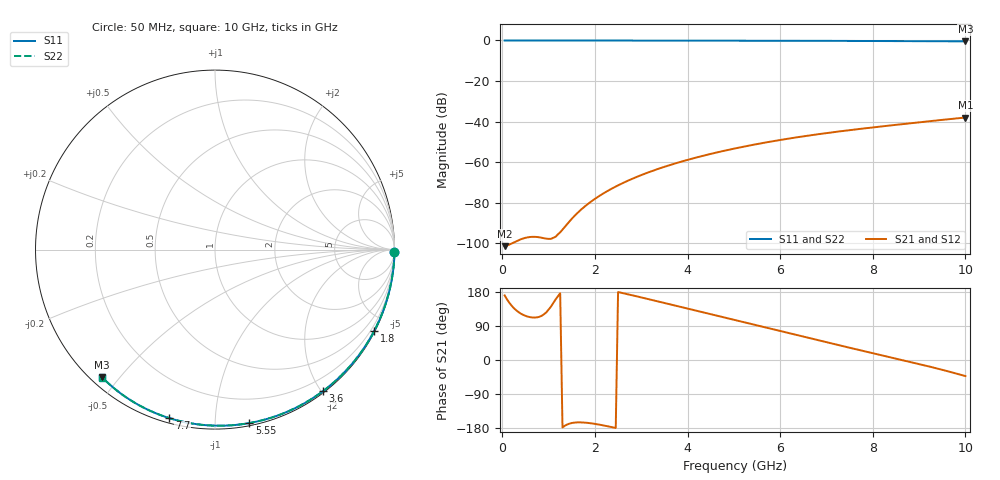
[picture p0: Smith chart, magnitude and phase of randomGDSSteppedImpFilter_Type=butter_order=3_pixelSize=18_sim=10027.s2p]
! freq	dB(S11)	phase(S11)	dB(S12)	phase(S12)
!  dB(S21)	phase(S21)	dB(S22)	phase(S22)
!S-par simulation data
#  GHz  S  DB  R 50
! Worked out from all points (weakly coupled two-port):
!   200 points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, 50 MHz to 10 GHz, reference 50 ohm
!   highest |S21| = -37.97 dB at 10 GHz (marker M1); lowest = -101.4 dB at 50 MHz (marker M2)
!   lowest |S11| = -0.5 dB at 10 GHz (marker M3), VSWR 38.34, Z = 1.57 - j22.5 ohm
!   |S11| at or under -10 dB: nowhere
!   |S22| runs from -0.4 to 0.0 dB; largest |S21 - S12| = 0
!   S11 on the Smith chart (normalised r, x): 50 MHz: open; 1.8 GHz: 0.04, -4.17; 3.6 GHz: 0.02, -2.02; 5.55 GHz: 0.02, -1.22; 7.7 GHz: 0.02, -0.76; 10 GHz: 0.03, -0.45
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0.05  -0.00 -0.8  -101.36 170.5  -101.36 170.5  -0.00 -0.8
0.9  -0.01 -13.6  -97.45 120.7  -97.45 120.7  -0.02 -13.6
1.75  -0.03 -26.2  -82.39 -164.9  -82.39 -164.9  -0.03 -26.2
1.8  -0.03 -27.0  -81.44 -165.4  -81.44 -165.4  -0.03 -26.9
1.85  -0.04 -27.7  -80.54 -166.0  -80.54 -166.0  -0.04 -27.6
1.9  -0.04 -28.4  -79.68 -166.8  -79.68 -166.8  -0.04 -28.4
2.05  -0.04 -30.6  -77.28 -169.6  -77.28 -169.6  -0.04 -30.6
2.25  -0.04 -33.5  -74.46 -174.2  -74.46 -174.2  -0.04 -33.5
2.45  -0.05 -36.4  -71.97 -179.3  -71.97 -179.3  -0.05 -36.4
2.65  -0.05 -39.3  -69.75 175.2  -69.75 175.2  -0.05 -39.2
3  -0.06 -44.3  -66.35 165.2  -66.35 165.2  -0.06 -44.2
3.4  -0.07 -49.9  -63.02 153.5  -63.02 153.5  -0.07 -49.8
3.6  -0.07 -52.7  -61.53 147.5  -61.53 147.5  -0.07 -52.6
4.3  -0.09 -62.3  -57.03 126.8  -57.03 126.8  -0.09 -62.2
5.05  -0.11 -72.3  -53.09 104.4  -53.09 104.4  -0.11 -72.1
5.55  -0.13 -78.8  -50.84 89.5  -50.84 89.5  -0.13 -78.6
6.1  -0.15 -85.7  -48.66 73.2  -48.66 73.2  -0.15 -85.6
6.7  -0.18 -93.2  -46.59 55.5  -46.59 55.5  -0.18 -93.0
7.7  -0.24 -105.2  -43.65 26.6  -43.65 26.6  -0.24 -105.0
8.35  -0.29 -112.8  -41.95 8.2  -41.95 8.2  -0.29 -112.6
9.15  -0.36 -122.0  -39.97 -15.1  -39.97 -15.1  -0.36 -121.7
10  -0.45 -131.5  -37.97 -42.5  -37.97 -42.5  -0.44 -131.4
